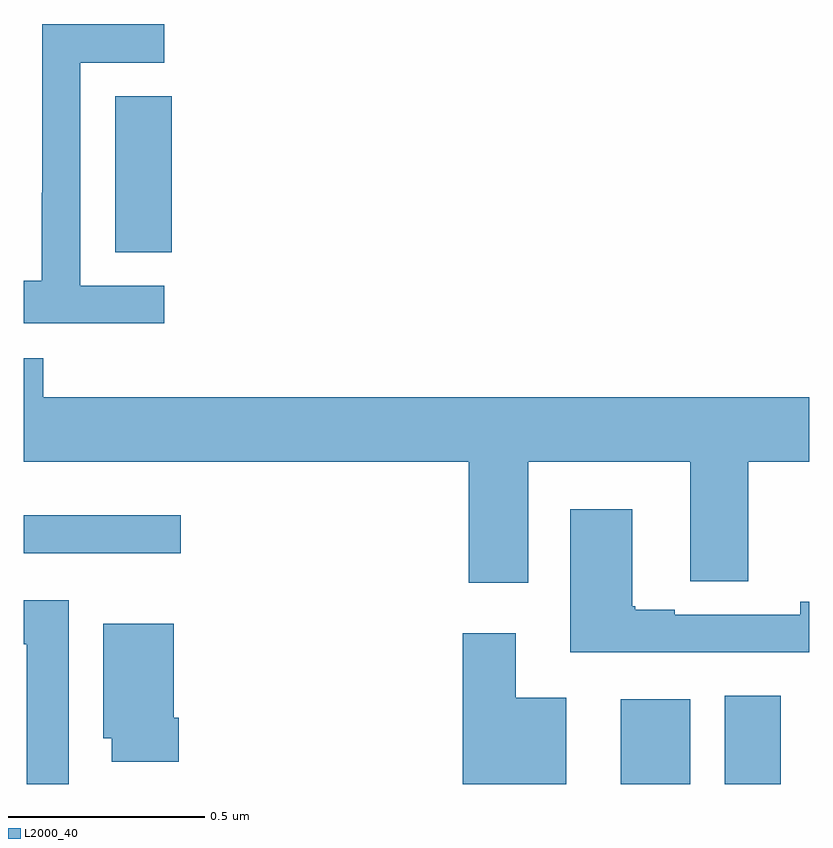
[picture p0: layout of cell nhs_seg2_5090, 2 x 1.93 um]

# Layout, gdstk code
import gdstk
lib = gdstk.Library(unit=1e-6, precision=1e-09)
def R(c, l, rs):  # rectangles x0, y0, x1, y1
    for r in rs: c.add(gdstk.rectangle(r[:2], r[2:], *l))
def P(c, l, *ps):  # polygons
    for p in ps: c.add(gdstk.Polygon(p, *l))
L2000_40 = (2000, 40)

nhs_seg2_5090 = lib.new_cell('nhs_seg2_5090')
R(nhs_seg2_5090, L2000_40, [(175.52,662.8,175.696,663.016), (175.784,662.8,175.927,663.025), (174,663.387,174.4,663.484), (174.233,664.153,174.377,664.55)])
P(nhs_seg2_5090, L2000_40, [(174.358,664.068),(174.144,664.068),(174.144,664.635),(174.358,664.635),(174.358,664.734),(174.048,664.734),(174.048,664.304),(174.046,664.304),(174.046,664.081),(174,664.081),(174,663.972),(174.358,663.972)],
  [(175.285,663.62),(175.697,663.62),(175.697,663.316),(175.844,663.316),(175.844,663.62),(176,663.62),(176,663.784),(174.05,663.784),(174.05,663.883),(174,663.883),(174,663.62),(175.133,663.62),(175.133,663.312),(175.285,663.312)],
  [(176,663.264),(175.977,663.264),(175.977,663.231),(175.657,663.231),(175.657,663.244),(175.557,663.244),(175.557,663.252),(175.549,663.252),(175.549,663.499),(175.391,663.499),(175.391,663.135),(176,663.135)],
  [(174.115,663.268),(174,663.268),(174,663.155),(174.008,663.155),(174.008,662.8),(174.115,662.8)],
  [(174.395,662.968),(174.382,662.968),(174.382,663.208),(174.203,663.208),(174.203,662.916),(174.224,662.916),(174.224,662.856),(174.395,662.856)],
  [(175.381,663.019),(175.252,663.019),(175.252,663.184),(175.118,663.184),(175.118,662.8),(175.381,662.8)])

lib.write_gds('nhs_seg2_5090.gds')
